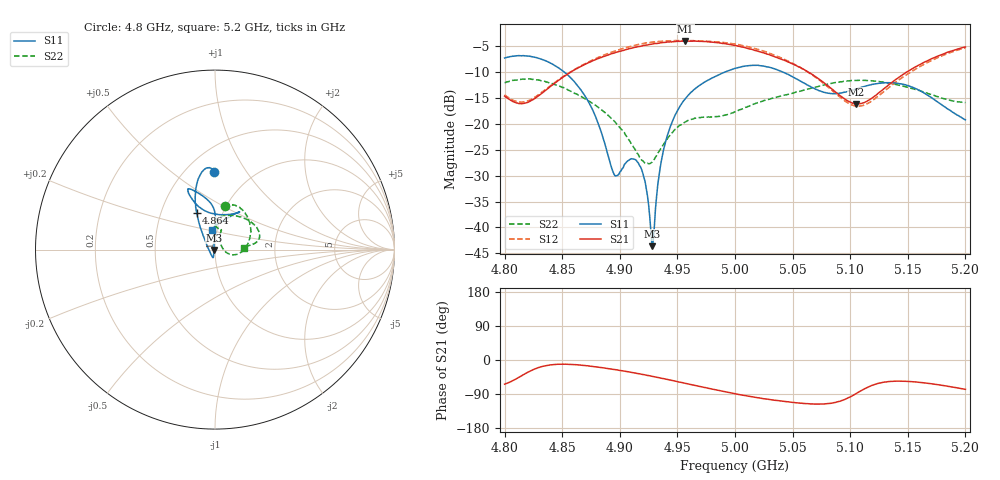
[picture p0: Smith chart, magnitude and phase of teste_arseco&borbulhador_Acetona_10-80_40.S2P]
! Network Analyzer HP8722D
! Hewlett-Packard
! Data name: Linha & Wilkinson
! Saver's name: Rodrigo Anjos
! Comments: Teste da utilização de aquisição
! continua pelo VNA HP8722D
! Time and date: 25/4/2025 15:36
!  Frequency  S11  S21  S12  S22
# HZ  S  MA R 50
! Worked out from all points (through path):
!   401 points, 4.8 GHz to 5.2 GHz, reference 50 ohm
!   highest |S21| = -3.97 dB at 4.957 GHz (marker M1); lowest = -16.1 dB at 5.105 GHz (marker M2)
!   lowest |S11| = -43.6 dB at 4.928 GHz (marker M3), VSWR 1.01, Z = 49.4 - j0.207 ohm
!   |S11| at or under -10 dB: 4.852 GHz to 4.991 GHz (138.9 MHz wide, 2.82 % of centre); 5.042 GHz to end of sweep
!   |S22| runs from -27.7 to -11.3 dB; largest |S21 - S12| = 1.2
!   S11 on the Smith chart (normalised r, x): 4.8 GHz: 0.68, +0.73; 4.864 GHz: 0.75, +0.33; 5.2 GHz: 0.94, +0.21
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4.8e9  0.4341 90.4  0.1859 -63.7  0.1911 69.6  0.2506 77.6
4.82e9  0.4529 96.8  0.1617 -32.5  0.167 98.4  0.2713 61.8
4.843e9  0.3711 106.1  0.2455 -12.1  0.249 118.8  0.2432 36.9
4.864e9  0.2307 116.3  0.3496 -13.0  0.3526 121.1  0.1899 12.0
4.867e9  0.2074 118.1  0.364 -13.9  0.3683 120.7  0.1828 8.6
4.88e9  0.11 128.4  0.4236 -18.4  0.4337 118.2  0.1485 -5.3
4.895e9  0.0326 -172.5  0.4854 -24.9  0.503 113.6  0.1069 -15.7
4.909e9  0.04558 -106.6  0.5369 -32.1  0.5609 107.5  0.06744 -14.8
4.917e9  0.03984 -101.9  0.5622 -36.4  0.5904 103.5  0.04798 -1.7
4.922e9  0.02754 -104.9  0.5773 -39.4  0.6043 100.7  0.04166 15.7
4.928e9  0.006592 -161.5  0.5919 -42.9  0.6181 97.0  0.04275 40.8
4.93e9  0.01026 124.2  0.5981 -44.2  0.6206 95.8  0.04563 48.4
4.934e9  0.03147 99.2  0.6036 -46.8  0.6296 93.2  0.05431 58.4
4.943e9  0.08887 90.4  0.6202 -52.4  0.6363 87.4  0.07633 69.4
4.957e9  0.1765 89.2  0.6335 -61.5  0.6403 78.7  0.1048 71.6
5e9  0.3451 109.0  0.5737 -89.1  0.5916 50.8  0.1314 88.7
5.031e9  0.3503 115.0  0.4616 -104.8  0.4776 33.3  0.1754 84.6
5.067e9  0.2253 105.1  0.3015 -115.8  0.2985 23.6  0.2225 57.3
5.105e9  0.219 65.0  0.1563 -88.9  0.1489 54.2  0.2635 25.6
5.134e9  0.2505 56.9  0.2414 -56.8  0.2267 88.6  0.248 12.4
5.169e9  0.1841 69.5  0.4191 -62.1  0.4019 84.9  0.1948 6.9
5.2e9  0.1097 100.2  0.5547 -77.5  0.545 70.1  0.161 3.8
